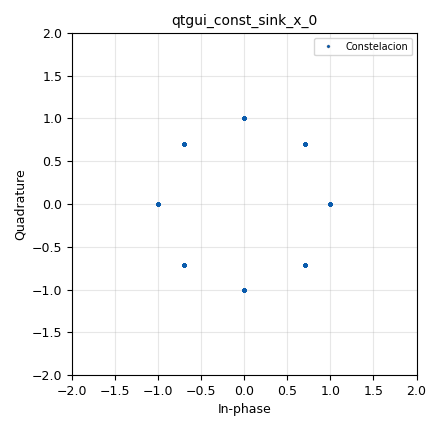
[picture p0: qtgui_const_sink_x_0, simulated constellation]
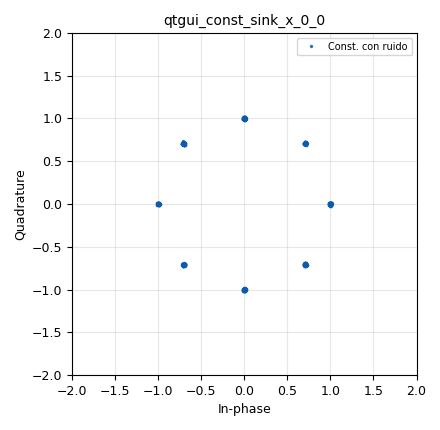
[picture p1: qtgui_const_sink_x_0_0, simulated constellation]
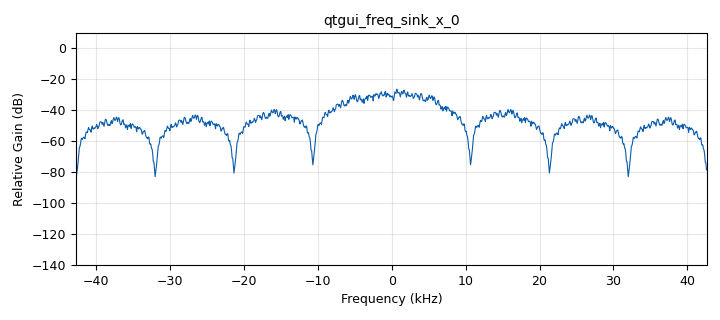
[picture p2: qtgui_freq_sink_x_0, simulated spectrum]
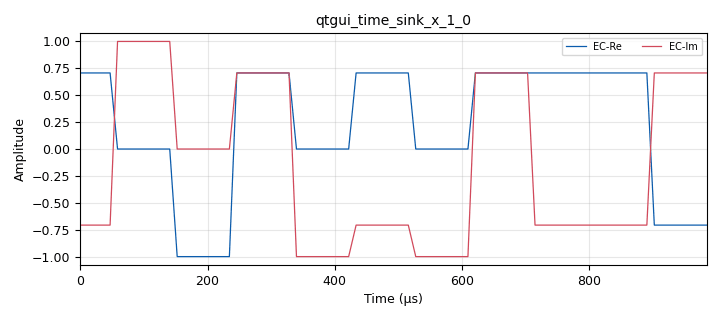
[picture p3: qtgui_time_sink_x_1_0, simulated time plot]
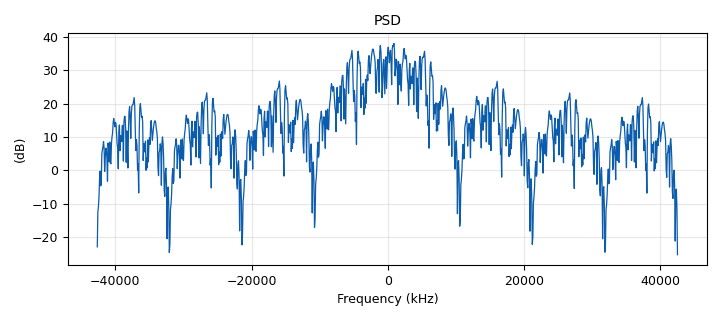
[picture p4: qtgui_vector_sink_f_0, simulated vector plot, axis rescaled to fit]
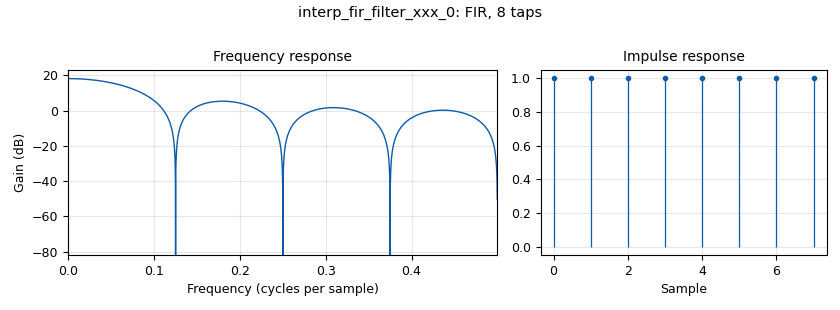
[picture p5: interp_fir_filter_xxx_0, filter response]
options:
  parameters:
    generate_options: qt_gui
    id: flujograma_mpsk
    output_language: python
    title: Not titled yet
  states: {}

blocks:
- name: M
  id: variable
  parameters:
    value: '8'
  states: {}
- name: Nbps
  id: variable
  parameters:
    value: int(math.log(M,2))
  states: {}
- name: Rb
  id: variable
  parameters:
    value: '32000'
  states: {}
- name: Rs
  id: variable
  parameters:
    value: Rb/Nbps
  states: {}
- name: Sps
  id: variable
  parameters:
    value: len(h)
  states: {}
- name: h
  id: variable
  parameters:
    value: (1.,1.,1.,1.,1.,1.,1.,1.)
  states: {}
- name: samp_rate
  id: variable
  parameters:
    value: Rs*Sps
  states: {}
- name: analog_const_source_x_0
  id: analog_const_source_x
  parameters:
    const: '1'
    type: float
  states: {}
- name: analog_noise_source_x_0
  id: analog_noise_source_x
  parameters:
    amp: '0.01'
    noise_type: analog.GR_GAUSSIAN
    seed: '0'
    type: complex
  states: {}
- name: analog_random_source_x_0
  id: analog_random_source_x
  parameters:
    max: '2'
    min: '0'
    num_samps: '1000'
    repeat: 'True'
    type: byte
  states: {}
- name: blocks_add_xx_0
  id: blocks_add_xx
  parameters:
    type: complex
  states: {}
- name: blocks_char_to_float_0
  id: blocks_char_to_float
  parameters:
    scale: '1'
  states: {state: disabled}
- name: blocks_char_to_float_0_0
  id: blocks_char_to_float
  parameters:
    scale: '1'
  states: {state: disabled}
- name: blocks_char_to_float_0_0_0
  id: blocks_char_to_float
  parameters:
    scale: '1'
  states: {}
- name: blocks_complex_to_mag_squared_0
  id: blocks_complex_to_mag_squared
  parameters: {}
  states: {}
- name: blocks_multiply_const_vxx_0
  id: blocks_multiply_const_vxx
  parameters:
    const: 2*math.pi/M
    type: float
  states: {}
- name: blocks_multiply_const_vxx_1
  id: blocks_multiply_const_vxx
  parameters:
    const: '10'
    type: float
  states: {}
- name: blocks_nlog10_ff_0
  id: blocks_nlog10_ff
  parameters:
    k: '0'
  states: {}
- name: blocks_repack_bits_bb_0
  id: blocks_repack_bits_bb
  parameters:
    endianness: gr.GR_LSB_FIRST
    k: '1'
    l: Nbps
  states: {}
- name: blocks_stream_to_vector_0
  id: blocks_stream_to_vector
  parameters:
    num_items: '1024'
    type: complex
  states: {}
- name: blocks_stream_to_vector_0_0
  id: blocks_stream_to_vector
  parameters:
    num_items: '1024'
    type: float
  states: {}
- name: blocks_vector_to_stream_0
  id: blocks_vector_to_stream
  parameters:
    num_items: '1024'
    type: complex
  states: {}
- name: epy_block_0
  id: epy_block
  parameters:
    _source_code: |
      """
      Embedded Python Blocks:

      Each time this file is saved, GRC will instantiate the first class it finds
      to get ports and parameters of your block. The arguments to __init__  will
      be the parameters. All of them are required to have default values!
      """

      import numpy as np
      from gnuradio import gr


      class blk(gr.sync_block):  # other base classes are basic_block, decim_block, interp_block
          """Embedded Python Block example - a simple multiply const"""

          def __init__(self, example_param=1.0):  # only default arguments here
              """Este bloque fue creado durante video"""
              gr.sync_block.__init__(
                  self,
                  name='VCO complex',   # will show up in GRC
                  in_sig=[np.float32, np.float32],
                  out_sig=[np.complex64]
              )
              # if an attribute with the same name as a parameter is found,
              # a callback is registered (properties work, too).
              self.example_param = example_param

          def work(self, input_items, output_items):
              Q = input_items[0]
              A = input_items[1]
              Sec = output_items[0]
              Sec[:]=A*np.exp(1.j*Q)
              return len(Sec)
    example_param: '1.0'
  states: {}
- name: fft_vxx_0
  id: fft_vxx
  parameters:
    fft_size: '1024'
    forward: 'True'
    shift: 'True'
    type: complex
    window: window.blackmanharris(1024)
  states: {}
- name: import_0
  id: import
  parameters:
    imports: import math
  states: {}
- name: interp_fir_filter_xxx_0
  id: interp_fir_filter_xxx
  parameters:
    interp: '8'
    taps: h
    type: ccc
  states: {}
- name: qtgui_const_sink_x_0
  id: qtgui_const_sink_x
  parameters:
    label1: Constelacion
    size: '1024'
    type: complex
  states: {}
- name: qtgui_const_sink_x_0_0
  id: qtgui_const_sink_x
  parameters:
    label1: Const. con ruido
    size: '1024'
    type: complex
  states: {}
- name: qtgui_freq_sink_x_0
  id: qtgui_freq_sink_x
  parameters:
    average: '0.05'
    bw: samp_rate
    fc: '0'
    fftsize: '1024'
    type: complex
  states: {}
- name: qtgui_time_sink_x_0
  id: qtgui_time_sink_x
  parameters:
    autoscale: 'True'
    label1: Binary
    marker1: '0'
    size: '32'
    srate: Rb
    stemplot: 'True'
    type: float
    width1: '3'
  states: {state: disabled}
- name: qtgui_time_sink_x_0_0
  id: qtgui_time_sink_x
  parameters:
    autoscale: 'True'
    label1: M*PAM
    marker1: '0'
    size: int(32/Nbps)
    srate: Rs
    stemplot: 'True'
    type: float
    width1: '3'
  states: {state: disabled}
- name: qtgui_time_sink_x_0_0_0
  id: qtgui_time_sink_x
  parameters:
    autoscale: 'True'
    label1: M*PAM MOD
    marker1: '0'
    size: int(32/Nbps)
    srate: Rs
    stemplot: 'True'
    type: float
    width1: '3'
  states: {state: disabled}
- name: qtgui_time_sink_x_1
  id: qtgui_time_sink_x
  parameters:
    label1: EC-Re
    label2: EC-Im
    marker1: '0'
    marker2: '0'
    size: int(32/Nbps)
    srate: Rs
    stemplot: 'True'
    type: complex
    width1: '3'
    width2: '3'
  states: {state: disabled}
- name: qtgui_time_sink_x_1_0
  id: qtgui_time_sink_x
  parameters:
    label1: EC-Re
    label2: EC-Im
    size: int(32*Sps/Nbps)
    srate: samp_rate
    type: complex
    width1: '3'
    width2: '3'
  states: {}
- name: qtgui_vector_sink_f_0
  id: qtgui_vector_sink_f
  parameters:
    name: '"PSD"'
    vlen: '1024'
    x_axis_label: '"Frequency (kHz)"'
    x_start: '-samp_rate/2'
    x_step: samp_rate/1024
    y_axis_label: '"(dB)"'
    ymax: '12000'
    ymin: '-10'
  states: {}

connections:
- [analog_const_source_x_0, '0', epy_block_0, '1']
- [analog_noise_source_x_0, '0', blocks_add_xx_0, '0']
- [analog_random_source_x_0, '0', blocks_char_to_float_0, '0']
- [analog_random_source_x_0, '0', blocks_repack_bits_bb_0, '0']
- [blocks_add_xx_0, '0', qtgui_const_sink_x_0_0, '0']
- [blocks_char_to_float_0, '0', qtgui_time_sink_x_0, '0']
- [blocks_char_to_float_0_0, '0', qtgui_time_sink_x_0_0, '0']
- [blocks_char_to_float_0_0_0, '0', blocks_multiply_const_vxx_0, '0']
- [blocks_complex_to_mag_squared_0, '0', blocks_nlog10_ff_0, '0']
- [blocks_multiply_const_vxx_0, '0', epy_block_0, '0']
- [blocks_multiply_const_vxx_0, '0', qtgui_time_sink_x_0_0_0, '0']
- [blocks_multiply_const_vxx_1, '0', blocks_stream_to_vector_0_0, '0']
- [blocks_nlog10_ff_0, '0', blocks_multiply_const_vxx_1, '0']
- [blocks_repack_bits_bb_0, '0', blocks_char_to_float_0_0, '0']
- [blocks_repack_bits_bb_0, '0', blocks_char_to_float_0_0_0, '0']
- [blocks_stream_to_vector_0, '0', fft_vxx_0, '0']
- [blocks_stream_to_vector_0_0, '0', qtgui_vector_sink_f_0, '0']
- [blocks_vector_to_stream_0, '0', blocks_complex_to_mag_squared_0, '0']
- [epy_block_0, '0', interp_fir_filter_xxx_0, '0']
- [epy_block_0, '0', qtgui_const_sink_x_0, '0']
- [epy_block_0, '0', qtgui_time_sink_x_1, '0']
- [fft_vxx_0, '0', blocks_vector_to_stream_0, '0']
- [interp_fir_filter_xxx_0, '0', blocks_add_xx_0, '1']
- [interp_fir_filter_xxx_0, '0', blocks_stream_to_vector_0, '0']
- [interp_fir_filter_xxx_0, '0', qtgui_freq_sink_x_0, '0']
- [interp_fir_filter_xxx_0, '0', qtgui_time_sink_x_1_0, '0']

metadata:
  file_format: 1
  grc_version: v3.10.11.0-89-ga17f69e7
